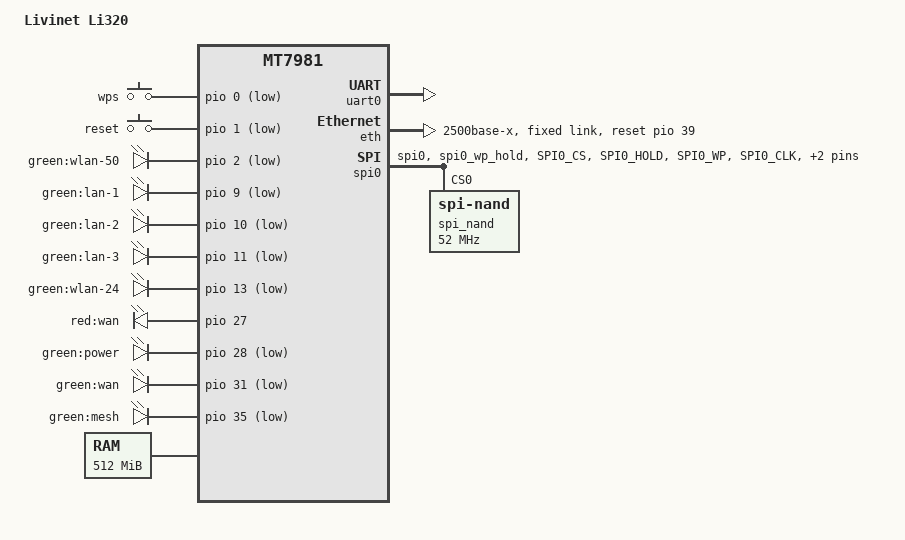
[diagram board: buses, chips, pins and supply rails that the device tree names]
// SPDX-License-Identifier: GPL-2.0

/dts-v1/;
#include "mt7981.dtsi"
#include <dt-bindings/gpio/gpio.h>

/ {
	#address-cells = <1>;
	#size-cells = <1>;
	model = "Livinet Li320";
	compatible = "mediatek,mt7981", "mediatek,mt7981-rfb";

	chosen {
		stdout-path = &uart0;
		tick-timer = &timer0;
	};

	config {
		bootcmd = "mtkboardboot";
		blink_led = "red:wan";
		system_led = "green:power";
	};

	gpio-keys {
		compatible = "gpio-keys";

		button-wps {
			label = "wps";
			linux,code = <BTN_0>;
			gpios = <&pio 0 GPIO_ACTIVE_LOW>;
		};

		button-reset {
			label = "reset";
			linux,code = <KEY_RESTART>;
			gpios = <&pio 1 GPIO_ACTIVE_LOW>;
		};
	};

	leds {
		compatible = "gpio-leds";

		led-0 {
			label = "green:wlan-50";
			gpios = <&pio 2 GPIO_ACTIVE_LOW>;
		};

		led-1 {
			label = "green:lan-1";
			gpios = <&pio 9 GPIO_ACTIVE_LOW>;
		};

		led-2 {
			label = "green:lan-2";
			gpios = <&pio 10 GPIO_ACTIVE_LOW>;
		};

		led-3 {
			label = "green:lan-3";
			gpios = <&pio 11 GPIO_ACTIVE_LOW>;
		};

		led-4 {
			label = "green:wlan-24";
			gpios = <&pio 13 GPIO_ACTIVE_LOW>;
		};

		led-5 {
			label = "red:wan";
			gpios = <&pio 27 GPIO_ACTIVE_HIGH>;
		};

		led-6 {
			label = "green:power";
			gpios = <&pio 28 GPIO_ACTIVE_LOW>;
		};

		led-7 {
			label = "green:wan";
			gpios = <&pio 31 GPIO_ACTIVE_LOW>;
		};

		led-8 {
			label = "green:mesh";
			gpios = <&pio 35 GPIO_ACTIVE_LOW>;
		};
	};

	memory@40000000 {
		device_type = "memory";
		reg = <0x40000000 0x20000000>;
	};

	bl2_verify {
		bl2_compatible = "spim-nand";
	};

	mtd-layout {
		layout@0 {
			label = "default";
			mtdids = "nmbm0=nmbm0";
			mtdparts = "nmbm0:1024k(bl2),512k(u-boot-env),2048k(Factory),2048k(fip),98304k(ubi),1024k(zrsave),1024k(config2)";
		};

		layout@1 {
			label = "openwrt";
			mtdids = "nmbm0=nmbm0";
			mtdparts = "nmbm0:1024k(bl2),512k(u-boot-env),2048k(Factory),2048k(fip),117248k(ubi)";
		};
	};
};

&uart0 {
	status = "okay";
};

&eth {
	status = "okay";
	mediatek,gmac-id = <0>;
	phy-mode = "2500base-x";
	mediatek,switch = "auto";
	reset-gpios = <&pio 39 GPIO_ACTIVE_HIGH>;

	fixed-link {
		speed = <2500>;
		full-duplex;
	};
};

&pio {
	spi_flash_pins: spi0-pins-func-1 {
		mux {
			function = "flash";
			groups = "spi0", "spi0_wp_hold";
		};

		conf-pu {
			pins = "SPI0_CS", "SPI0_HOLD", "SPI0_WP";
			drive-strength = <MTK_DRIVE_8mA>;
			bias-pull-up = <MTK_PUPD_SET_R1R0_11>;
		};

		conf-pd {
			pins = "SPI0_CLK", "SPI0_MOSI", "SPI0_MISO";
			drive-strength = <MTK_DRIVE_8mA>;
			bias-pull-down = <MTK_PUPD_SET_R1R0_11>;
		};
	};
};

&spi0 {
	#address-cells = <1>;
	#size-cells = <0>;
	pinctrl-names = "default";
	pinctrl-0 = <&spi_flash_pins>;
	status = "okay";
	must_tx;
	enhance_timing;
	dma_ext;
	ipm_design;
	support_quad;
	tick_dly = <2>;
	sample_sel = <0>;

	spi_nand@0 {
		compatible = "spi-nand";
		reg = <0>;
		spi-max-frequency = <52000000>;
	};
};

&watchdog {
	status = "disabled";
};
